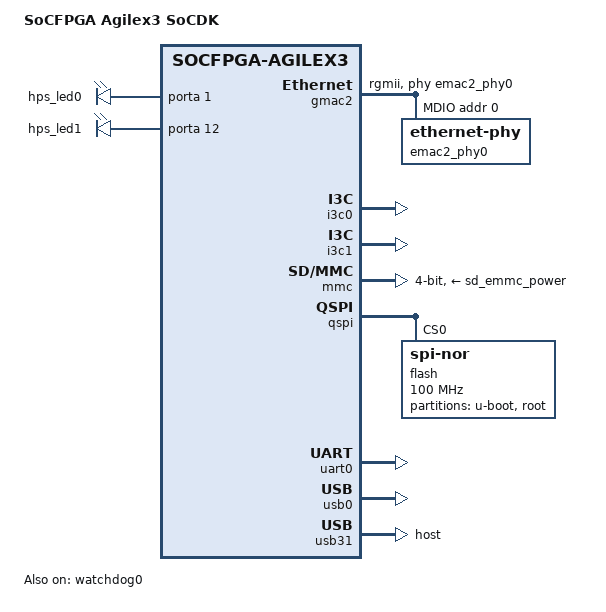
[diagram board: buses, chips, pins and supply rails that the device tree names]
// SPDX-License-Identifier: GPL-2.0-only
/*
 * Copyright (C) 2025, Altera Corporation
 */
#include "socfpga_agilex5.dtsi"

/ {
	model = "SoCFPGA Agilex3 SoCDK";
	compatible = "intel,socfpga-agilex3-socdk", "intel,socfpga-agilex3";

	aliases {
		serial0 = &uart0;
		ethernet0 = &gmac0;
		ethernet1 = &gmac1;
		ethernet2 = &gmac2;
	};

	chosen {
		stdout-path = "serial0:115200n8";
	};

	leds {
		compatible = "gpio-leds";

		led0 {
			label = "hps_led0";
			gpios = <&porta 1 GPIO_ACTIVE_HIGH>;
		};

		led1 {
			label = "hps_led1";
			gpios = <&porta 12 GPIO_ACTIVE_HIGH>;
		};

	};

	memory {
		device_type = "memory";
		/* We expect the bootloader to fill in the reg */
		reg = <0x0 0x80000000 0x0 0x0>;
	};
};

&cpu2 {
	status = "disabled";
};

&cpu3 {
	status = "disabled";
};

&gpio0 {
	status = "okay";
};

&gpio1 {
	status = "okay";
};

&gmac2 {
	status = "okay";
	phy-mode = "rgmii";
	phy-handle = <&emac2_phy0>;
	max-frame-size = <9000>;
	mdio0 {
		#address-cells = <1>;
		#size-cells = <0>;
		compatible = "snps,dwmac-mdio";
		emac2_phy0: ethernet-phy@0 {
			reg = <0>;
			rxc-skew-ps = <0>;
			rxdv-skew-ps = <0>;
			rxd0-skew-ps = <0>;
			rxd1-skew-ps = <0>;
			rxd2-skew-ps = <0>;
			rxd3-skew-ps = <0>;
			txc-skew-ps = <0>;
			txen-skew-ps = <60>;
			txd0-skew-ps = <60>;
			txd1-skew-ps = <60>;
			txd2-skew-ps = <60>;
			txd3-skew-ps = <60>;
		};
	};
};

&i3c0 {
	status = "okay";
};

&i3c1 {
	status = "okay";
};

&sd_io_1v8_reg {
	gpios = <&portb 3 GPIO_ACTIVE_HIGH>;
};

&mmc {
	status = "okay";

	no-mmc;
	disable-wp;
	cap-sd-highspeed;
	sd-uhs-sdr104;
	bus-width = <4>;
	vmmc-supply = <&sd_emmc_power>;
	vqmmc-supply = <&sd_io_1v8_reg>;
	max-frequency = <200000000>;
	sdhci-caps = <0x00000000 0x0000c800>;
	sdhci-caps-mask = <0x00002000 0x0000ff00>;
};

&osc1 {
	clock-frequency = <25000000>;
};

&pmu0 {
	cpus = <&cpu0>, <&cpu1>;
};

&qspi {
	status = "okay";
	cdns,fifo-depth = <0x400>;
	flash@0 {
		#address-cells = <1>;
		#size-cells = <1>;
		compatible = "jedec,spi-nor";
		reg = <0>;
		spi-max-frequency = <100000000>;
		m25p,fast-read;
		cdns,read-delay = <2>;
		cdns,tshsl-ns = <50>;
		cdns,tsd2d-ns = <50>;
		cdns,tchsh-ns = <4>;
		cdns,tslch-ns = <4>;
		spi-tx-bus-width = <4>;
		spi-rx-bus-width = <4>;

		partitions {
			compatible = "fixed-partitions";
			#address-cells = <1>;
			#size-cells = <1>;
			rsu-handle = <&qspi_boot>;

			qspi_boot: partition@0 {
				label = "u-boot";
				reg = <0x0 0x00c00000>;
			};

			root: partition@c00000 {
				label = "root";
				reg = <0x00c00000 0x03400000>;
			};
		};
	};
};

&smmu {
	status = "okay";
};

&temp_volt {
	voltage {
		#address-cells = <1>;
		#size-cells = <0>;
		input@2 {
			label = "0.8V VCC";
			reg = <2>;
		};

		input@3 {
			label = "1.8V VCCIO_SDM";
			reg = <3>;
		};

		input@4 {
			label = "1.8V VCCPT";
			reg = <4>;
		};

		input@5 {
			label = "1.2V VCCCRCORE";
			reg = <5>;
		};

		input@6 {
			label = "0.9V VCCH";
			reg = <6>;
		};

		input@7 {
			label = "0.8V VCCL";
			reg = <7>;
		};
	};

	temperature {
		#address-cells = <1>;
		#size-cells = <0>;

		input@0 {
			label = "Main Die SDM";
			reg = <0x0>;
		};

		input@10001 {
			label = "Main Die corner bottom left max";
			reg = <0x10000>;
		};

		input@30001 {
			label = "Main Die corner bottom right max";
			reg = <0x30000>;
		};

		input@40001 {
			label = "Main Die corner top right max";
			reg = <0x40000>;
		};
	};
};

&uart0 {
	status = "okay";
};

&usb0 {
	status = "okay";
	disable-over-current;
};

&usb31 {
	status = "okay";
	dr_mode = "host";
	maximum-speed = "high-speed";
};

&watchdog0 {
	status = "okay";
};
